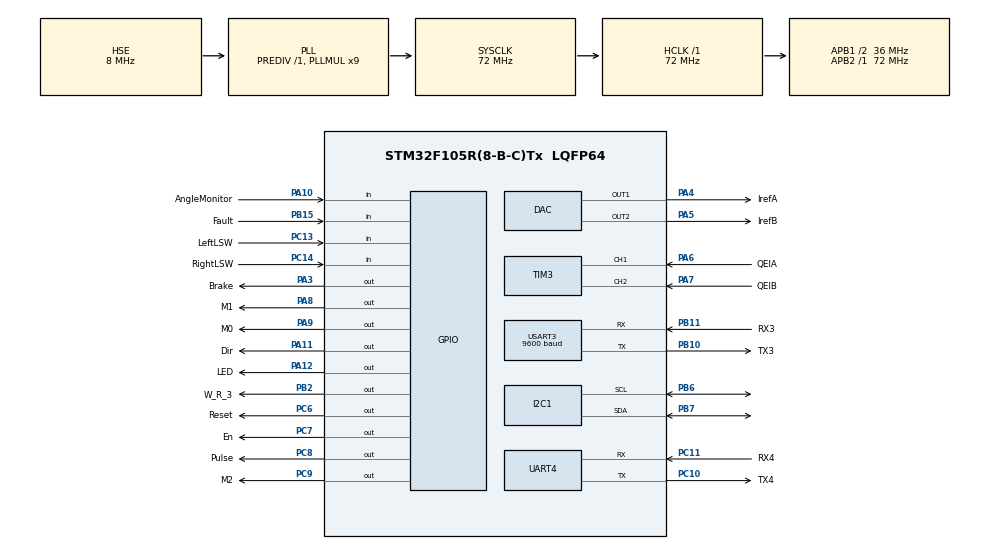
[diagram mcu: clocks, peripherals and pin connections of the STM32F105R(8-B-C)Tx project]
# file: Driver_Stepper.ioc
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Mcu.Family=STM32F1
Mcu.Name=STM32F105R(8-B-C)Tx
Mcu.Package=LQFP64
NVIC.PriorityGroup=NVIC_PRIORITYGROUP_4
NVIC.TIM5_IRQn=true\:0\:0\:false\:false\:true\:true\:true
NVIC.USART3_IRQn=true\:0\:0\:false\:false\:true\:true\:true
PA10.GPIO_Label=AngleMonitor
PA10.Signal=GPIO_Input
PA11.GPIO_Label=Dir
PA11.Signal=GPIO_Output
PA12.GPIO_Label=LED
PA12.Signal=GPIO_Output
PA13.Mode=Serial_Wire
PA13.Signal=SYS_JTMS-SWDIO
PA14.Mode=Serial_Wire
PA14.Signal=SYS_JTCK-SWCLK
PA3.GPIO_Label=Brake
PA3.Signal=GPIO_Output
PA4.GPIO_Label=IrefA
PA4.Signal=COMP_DAC1_group
PA5.GPIO_Label=IrefB
PA5.Signal=COMP_DAC2_group
PA6.GPIO_Label=QEIA
PA6.Signal=S_TIM3_CH1
PA7.GPIO_Label=QEIB
PA7.Signal=S_TIM3_CH2
PA8.GPIO_Label=M1
PA8.Signal=GPIO_Output
PA9.GPIO_Label=M0
PA9.Signal=GPIO_Output
PB10.GPIO_Label=TX3
PB10.Mode=Asynchronous
PB10.Signal=USART3_TX
PB11.GPIO_Label=RX3
PB11.Mode=Asynchronous
PB11.Signal=USART3_RX
PB15.GPIO_Label=Fault
PB15.Signal=GPIO_Input
PB2.GPIO_Label=W_R_3
PB2.Signal=GPIO_Output
PB6.Mode=I2C
PB6.Signal=I2C1_SCL
PB7.Mode=I2C
PB7.Signal=I2C1_SDA
PC10.GPIO_Label=TX4
PC10.Mode=Asynchronous
PC10.Signal=UART4_TX
PC11.GPIO_Label=RX4
PC11.Mode=Asynchronous
PC11.Signal=UART4_RX
PC13-TAMPER-RTC.GPIO_Label=LeftLSW
PC13-TAMPER-RTC.Signal=GPIO_Input
PC14-OSC32_IN.GPIO_Label=RightLSW
PC14-OSC32_IN.Signal=GPIO_Input
PC6.GPIO_Label=Reset
PC6.Signal=GPIO_Output
PC7.GPIO_Label=En
PC7.Signal=GPIO_Output
PC8.GPIO_Label=Pulse
PC8.Signal=GPIO_Output
PC9.GPIO_Label=M2
PC9.Signal=GPIO_Output
PD0-OSC_IN.Mode=HSE-External-Oscillator
PD0-OSC_IN.Signal=RCC_OSC_IN
PD1-OSC_OUT.Mode=HSE-External-Oscillator
PD1-OSC_OUT.Signal=RCC_OSC_OUT
ProjectManager.HeapSize=0x200
ProjectManager.StackSize=0x400
ProjectManager.TargetToolchain=MDK-ARM V5.27
RCC.AHBFreq_Value=72000000
RCC.APB1CLKDivider=RCC_HCLK_DIV2
RCC.APB1Freq_Value=36000000
RCC.APB1TimFreq_Value=72000000
RCC.APB2Freq_Value=72000000
RCC.APB2TimFreq_Value=72000000
RCC.HCLKFreq_Value=72000000
RCC.PLLMUL=RCC_PLL_MUL9
RCC.PLLSourceVirtual=RCC_PLLSOURCE_HSE
RCC.SYSCLKFreq_VALUE=72000000
RCC.SYSCLKSource=RCC_SYSCLKSOURCE_PLLCLK
RCC.USBFreq_Value=48000000
SH.COMP_DAC1_group.0=DAC_OUT1,DAC_OUT1
SH.COMP_DAC2_group.0=DAC_OUT2,DAC_OUT2
SH.S_TIM3_CH1.0=TIM3_CH1,Encoder_Interface
SH.S_TIM3_CH2.0=TIM3_CH2,Encoder_Interface
TIM3.EncoderMode=TIM_ENCODERMODE_TI12
TIM3.IC1Filter=10
TIM3.IC2Filter=10
TIM5.AutoReloadPreload=TIM_AUTORELOAD_PRELOAD_ENABLE
TIM5.Period=49999
TIM5.Prescaler=144-1
TIM7.Prescaler=72-1
UART4.VirtualMode=Asynchronous
USART3.BaudRate=9600
USART3.VirtualMode=VM_ASYNC
VP_TIM5_VS_ClockSourceINT.Mode=Internal
VP_TIM7_VS_ClockSourceINT.Mode=Enable_Timer
board=custom

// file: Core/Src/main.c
/* USER CODE BEGIN Header */
/**
  ******************************************************************************
  * @file           : main.c
  * @brief          : Main program body
  ******************************************************************************
  * @attention
  *
  * <h2><center>&copy; Copyright (c) 2022 STMicroelectronics.
  * All rights reserved.</center></h2>
  *
  * This software component is licensed by ST under BSD 3-Clause license,
  * the "License"; You may not use this file except in compliance with the
  * License. You may obtain a copy of the License at:
  *                        opensource.org/licenses/BSD-3-Clause
  *
  ******************************************************************************
  */
/* USER CODE END Header */
#include "main.h"

/* USER CODE BEGIN Includes */
#include "Stepper.h"
#include "Analog.h"

/* USER CODE END Includes */

DAC_HandleTypeDef hdac;

I2C_HandleTypeDef hi2c1;

TIM_HandleTypeDef htim3;
TIM_HandleTypeDef htim5;
TIM_HandleTypeDef htim7;

UART_HandleTypeDef huart4;
UART_HandleTypeDef huart3;

void SystemClock_Config(void);
static void MX_GPIO_Init(void);
static void MX_USART3_UART_Init(void);
static void MX_TIM7_Init(void);
static void MX_DAC_Init(void);
static void MX_TIM5_Init(void);
static void MX_I2C1_Init(void);
static void MX_TIM3_Init(void);
static void MX_UART4_Init(void);

/* USER CODE BEGIN 0 */
Stepper StepVar;
Motion mProfile[10]; 	//Maximum 10 motion profiles
uint8_t mID; 					//Corresponding to the chosen motion profile

/* USER CODE END 0 */

int main(void)
{

  /* MCU Configuration--------------------------------------------------------*/

  /* Reset of all peripherals, Initializes the Flash interface and the Systick. */
  HAL_Init();

  /* Configure the system clock */
  SystemClock_Config();

  /* Initialize all configured peripherals */
  MX_GPIO_Init();
  MX_USART3_UART_Init();
  MX_TIM7_Init();
  MX_DAC_Init();
  MX_TIM5_Init();
  MX_I2C1_Init();
  MX_TIM3_Init();
  MX_UART4_Init();
  /* USER CODE BEGIN 2 */
	HAL_DAC_Start(&hdac,DAC_CHANNEL_1);
	HAL_DAC_Start(&hdac,DAC_CHANNEL_2);
	HAL_TIM_Base_Start(&htim7);
	HAL_TIM_Base_Start_IT(&htim5); //100ms period
	//Initialize parameters of the stepper motor
	Stepper_Init(1.8, Micro_1_32, mPOSITION, 1.0);
	//Set motion profile
	MotionProfile_Set(0, 30.0, 30.0, 10, 1000*360, 1.0, 0.2);
	//Clear state vairable of the stepper driver
	Stepper_StateRst();
	//Reset variables used in motion profile before using
	MotionVar_Prepare(0);
	//Start stepper motor control
	mID = 0;	//motion profile 0 is chosen
	Stepper_Start(mID);
  /* USER CODE END 2 */

  /* Infinite loop */
  while (1)
  {

  }
}

void SystemClock_Config(void)
{
  RCC_OscInitTypeDef RCC_OscInitStruct = {0};
  RCC_ClkInitTypeDef RCC_ClkInitStruct = {0};

  /** Initializes the RCC Oscillators according to the specified parameters
  * in the RCC_OscInitTypeDef structure.
  */
  RCC_OscInitStruct.OscillatorType = RCC_OSCILLATORTYPE_HSE;
  RCC_OscInitStruct.HSEState = RCC_HSE_ON;
  RCC_OscInitStruct.HSEPredivValue = RCC_HSE_PREDIV_DIV1;
  RCC_OscInitStruct.HSIState = RCC_HSI_ON;
  RCC_OscInitStruct.Prediv1Source = RCC_PREDIV1_SOURCE_HSE;
  RCC_OscInitStruct.PLL.PLLState = RCC_PLL_ON;
  RCC_OscInitStruct.PLL.PLLSource = RCC_PLLSOURCE_HSE;
  RCC_OscInitStruct.PLL.PLLMUL = RCC_PLL_MUL9;
  RCC_OscInitStruct.PLL2.PLL2State = RCC_PLL_NONE;
  if (HAL_RCC_OscConfig(&RCC_OscInitStruct) != HAL_OK)
  {
    Error_Handler();
  }
  /** Initializes the CPU, AHB and APB buses clocks
  */
  RCC_ClkInitStruct.ClockType = RCC_CLOCKTYPE_HCLK|RCC_CLOCKTYPE_SYSCLK
                              |RCC_CLOCKTYPE_PCLK1|RCC_CLOCKTYPE_PCLK2;
  RCC_ClkInitStruct.SYSCLKSource = RCC_SYSCLKSOURCE_PLLCLK;
  RCC_ClkInitStruct.AHBCLKDivider = RCC_SYSCLK_DIV1;
  RCC_ClkInitStruct.APB1CLKDivider = RCC_HCLK_DIV2;
  RCC_ClkInitStruct.APB2CLKDivider = RCC_HCLK_DIV1;

  if (HAL_RCC_ClockConfig(&RCC_ClkInitStruct, FLASH_LATENCY_2) != HAL_OK)
  {
    Error_Handler();
  }
  /** Configure the Systick interrupt time
  */
  __HAL_RCC_PLLI2S_ENABLE();
}

static void MX_DAC_Init(void)
{

  DAC_ChannelConfTypeDef sConfig = {0};

  /** DAC Initialization
  */
  hdac.Instance = DAC;
  if (HAL_DAC_Init(&hdac) != HAL_OK)
  {
    Error_Handler();
  }
  /** DAC channel OUT1 config
  */
  sConfig.DAC_Trigger = DAC_TRIGGER_NONE;
  sConfig.DAC_OutputBuffer = DAC_OUTPUTBUFFER_ENABLE;
  if (HAL_DAC_ConfigChannel(&hdac, &sConfig, DAC_CHANNEL_1) != HAL_OK)
  {
    Error_Handler();
  }
  /** DAC channel OUT2 config
  */
  if (HAL_DAC_ConfigChannel(&hdac, &sConfig, DAC_CHANNEL_2) != HAL_OK)
  {
    Error_Handler();
  }

}

static void MX_I2C1_Init(void)
{

  hi2c1.Instance = I2C1;
  hi2c1.Init.ClockSpeed = 100000;
  hi2c1.Init.DutyCycle = I2C_DUTYCYCLE_2;
  hi2c1.Init.OwnAddress1 = 0;
  hi2c1.Init.AddressingMode = I2C_ADDRESSINGMODE_7BIT;
  hi2c1.Init.DualAddressMode = I2C_DUALADDRESS_DISABLE;
  hi2c1.Init.OwnAddress2 = 0;
  hi2c1.Init.GeneralCallMode = I2C_GENERALCALL_DISABLE;
  hi2c1.Init.NoStretchMode = I2C_NOSTRETCH_DISABLE;
  if (HAL_I2C_Init(&hi2c1) != HAL_OK)
  {
    Error_Handler();
  }

}

static void MX_TIM3_Init(void)
{

  TIM_Encoder_InitTypeDef sConfig = {0};
  TIM_MasterConfigTypeDef sMasterConfig = {0};

  htim3.Instance = TIM3;
  htim3.Init.Prescaler = 0;
  htim3.Init.CounterMode = TIM_COUNTERMODE_UP;
  htim3.Init.Period = 65535;
  htim3.Init.ClockDivision = TIM_CLOCKDIVISION_DIV1;
  htim3.Init.AutoReloadPreload = TIM_AUTORELOAD_PRELOAD_DISABLE;
  sConfig.EncoderMode = TIM_ENCODERMODE_TI12;
  sConfig.IC1Polarity = TIM_ICPOLARITY_RISING;
  sConfig.IC1Selection = TIM_ICSELECTION_DIRECTTI;
  sConfig.IC1Prescaler = TIM_ICPSC_DIV1;
  sConfig.IC1Filter = 10;
  sConfig.IC2Polarity = TIM_ICPOLARITY_RISING;
  sConfig.IC2Selection = TIM_ICSELECTION_DIRECTTI;
  sConfig.IC2Prescaler = TIM_ICPSC_DIV1;
  sConfig.IC2Filter = 10;
  if (HAL_TIM_Encoder_Init(&htim3, &sConfig) != HAL_OK)
  {
    Error_Handler();
  }
  sMasterConfig.MasterOutputTrigger = TIM_TRGO_RESET;
  sMasterConfig.MasterSlaveMode = TIM_MASTERSLAVEMODE_DISABLE;
  if (HAL_TIMEx_MasterConfigSynchronization(&htim3, &sMasterConfig) != HAL_OK)
  {
    Error_Handler();
  }

}

static void MX_TIM5_Init(void)
{

  TIM_ClockConfigTypeDef sClockSourceConfig = {0};
  TIM_MasterConfigTypeDef sMasterConfig = {0};

  htim5.Instance = TIM5;
  htim5.Init.Prescaler = 144-1;
  htim5.Init.CounterMode = TIM_COUNTERMODE_UP;
  htim5.Init.Period = 49999;
  htim5.Init.ClockDivision = TIM_CLOCKDIVISION_DIV1;
  htim5.Init.AutoReloadPreload = TIM_AUTORELOAD_PRELOAD_ENABLE;
  if (HAL_TIM_Base_Init(&htim5) != HAL_OK)
  {
    Error_Handler();
  }
  sClockSourceConfig.ClockSource = TIM_CLOCKSOURCE_INTERNAL;
  if (HAL_TIM_ConfigClockSource(&htim5, &sClockSourceConfig) != HAL_OK)
  {
    Error_Handler();
  }
  sMasterConfig.MasterOutputTrigger = TIM_TRGO_RESET;
  sMasterConfig.MasterSlaveMode = TIM_MASTERSLAVEMODE_DISABLE;
  if (HAL_TIMEx_MasterConfigSynchronization(&htim5, &sMasterConfig) != HAL_OK)
  {
    Error_Handler();
  }

}

static void MX_TIM7_Init(void)
{

  TIM_MasterConfigTypeDef sMasterConfig = {0};

  htim7.Instance = TIM7;
  htim7.Init.Prescaler = 72-1;
  htim7.Init.CounterMode = TIM_COUNTERMODE_UP;
  htim7.Init.Period = 65535;
  htim7.Init.AutoReloadPreload = TIM_AUTORELOAD_PRELOAD_DISABLE;
  if (HAL_TIM_Base_Init(&htim7) != HAL_OK)
  {
    Error_Handler();
  }
  sMasterConfig.MasterOutputTrigger = TIM_TRGO_RESET;
  sMasterConfig.MasterSlaveMode = TIM_MASTERSLAVEMODE_DISABLE;
  if (HAL_TIMEx_MasterConfigSynchronization(&htim7, &sMasterConfig) != HAL_OK)
  {
    Error_Handler();
  }

}

static void MX_UART4_Init(void)
{

  huart4.Instance = UART4;
  huart4.Init.BaudRate = 115200;
  huart4.Init.WordLength = UART_WORDLENGTH_8B;
  huart4.Init.StopBits = UART_STOPBITS_1;
  huart4.Init.Parity = UART_PARITY_NONE;
  huart4.Init.Mode = UART_MODE_TX_RX;
  huart4.Init.HwFlowCtl = UART_HWCONTROL_NONE;
  huart4.Init.OverSampling = UART_OVERSAMPLING_16;
  if (HAL_UART_Init(&huart4) != HAL_OK)
  {
    Error_Handler();
  }

}

static void MX_USART3_UART_Init(void)
{

  huart3.Instance = USART3;
  huart3.Init.BaudRate = 9600;
  huart3.Init.WordLength = UART_WORDLENGTH_8B;
  huart3.Init.StopBits = UART_STOPBITS_1;
  huart3.Init.Parity = UART_PARITY_NONE;
  huart3.Init.Mode = UART_MODE_TX_RX;
  huart3.Init.HwFlowCtl = UART_HWCONTROL_NONE;
  huart3.Init.OverSampling = UART_OVERSAMPLING_16;
  if (HAL_UART_Init(&huart3) != HAL_OK)
  {
    Error_Handler();
  }

}

static void MX_GPIO_Init(void)
{
  GPIO_InitTypeDef GPIO_InitStruct = {0};

  /* GPIO Ports Clock Enable */
  __HAL_RCC_GPIOC_CLK_ENABLE();
  __HAL_RCC_GPIOD_CLK_ENABLE();
  __HAL_RCC_GPIOA_CLK_ENABLE();
  __HAL_RCC_GPIOB_CLK_ENABLE();

  /*Configure GPIO pin Output Level */
  HAL_GPIO_WritePin(GPIOA, Brake_Pin|M1_Pin|M0_Pin|Dir_Pin
                          |LED_Pin, GPIO_PIN_RESET);

  /*Configure GPIO pin Output Level */
  HAL_GPIO_WritePin(W_R_3_GPIO_Port, W_R_3_Pin, GPIO_PIN_RESET);

  /*Configure GPIO pin Output Level */
  HAL_GPIO_WritePin(GPIOC, Reset_Pin|En_Pin|Pulse_Pin|M2_Pin, GPIO_PIN_RESET);

  /*Configure GPIO pins : LeftLSW_Pin RightLSW_Pin */
  GPIO_InitStruct.Pin = LeftLSW_Pin|RightLSW_Pin;
  GPIO_InitStruct.Mode = GPIO_MODE_INPUT;
  GPIO_InitStruct.Pull = GPIO_NOPULL;
  HAL_GPIO_Init(GPIOC, &GPIO_InitStruct);

  /*Configure GPIO pins : Brake_Pin M1_Pin M0_Pin Dir_Pin
                           LED_Pin */
  GPIO_InitStruct.Pin = Brake_Pin|M1_Pin|M0_Pin|Dir_Pin
                          |LED_Pin;
  GPIO_InitStruct.Mode = GPIO_MODE_OUTPUT_PP;
  GPIO_InitStruct.Pull = GPIO_NOPULL;
  GPIO_InitStruct.Speed = GPIO_SPEED_FREQ_LOW;
  HAL_GPIO_Init(GPIOA, &GPIO_InitStruct);

  /*Configure GPIO pin : W_R_3_Pin */
  GPIO_InitStruct.Pin = W_R_3_Pin;
  GPIO_InitStruct.Mode = GPIO_MODE_OUTPUT_PP;
  GPIO_InitStruct.Pull = GPIO_NOPULL;
  GPIO_InitStruct.Speed = GPIO_SPEED_FREQ_LOW;
  HAL_GPIO_Init(W_R_3_GPIO_Port, &GPIO_InitStruct);

  /*Configure GPIO pin : Fault_Pin */
  GPIO_InitStruct.Pin = Fault_Pin;
  GPIO_InitStruct.Mode = GPIO_MODE_INPUT;
  GPIO_InitStruct.Pull = GPIO_NOPULL;
  HAL_GPIO_Init(Fault_GPIO_Port, &GPIO_InitStruct);

  /*Configure GPIO pins : Reset_Pin En_Pin Pulse_Pin M2_Pin */
  GPIO_InitStruct.Pin = Reset_Pin|En_Pin|Pulse_Pin|M2_Pin;
  GPIO_InitStruct.Mode = GPIO_MODE_OUTPUT_PP;
  GPIO_InitStruct.Pull = GPIO_NOPULL;
  GPIO_InitStruct.Speed = GPIO_SPEED_FREQ_LOW;
  HAL_GPIO_Init(GPIOC, &GPIO_InitStruct);

  /*Configure GPIO pin : AngleMonitor_Pin */
  GPIO_InitStruct.Pin = AngleMonitor_Pin;
  GPIO_InitStruct.Mode = GPIO_MODE_INPUT;
  GPIO_InitStruct.Pull = GPIO_NOPULL;
  HAL_GPIO_Init(AngleMonitor_GPIO_Port, &GPIO_InitStruct);

}

/* USER CODE BEGIN 4 */
void HAL_TIM_PeriodElapsedCallback(TIM_HandleTypeDef *htim)
{
	static uint16_t Tim5_Cnt = 0;
	if(htim->Instance == htim5.Instance)
	{
		if(++Tim5_Cnt > 4)
		{
			HAL_GPIO_TogglePin(LED_GPIO_Port, LED_Pin);
			Tim5_Cnt = 0;
		}
		if(StepVar.state == stRUN)
		{
	    Stepper_Control(0);
		}
	}
}
/* USER CODE END 4 */

void Error_Handler(void)
{
  __disable_irq();
  while (1)
  {
  }
}

/************************ (C) COPYRIGHT STMicroelectronics *****END OF FILE****/
